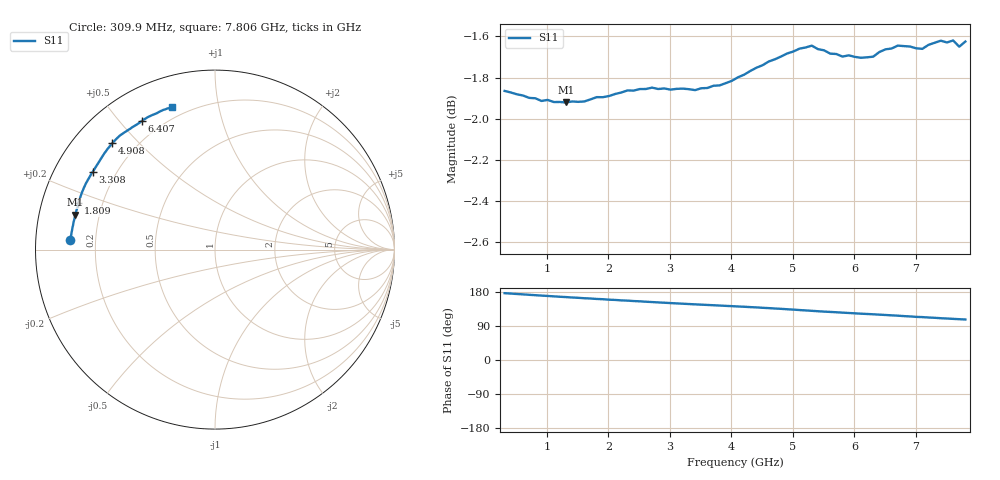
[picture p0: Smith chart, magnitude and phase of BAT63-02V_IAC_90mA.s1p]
! Infineon Technologies  Discrete & RF Semiconductors
! BAT63-02V
! IAC = 90 mA
! One-Port S-Parameters
# Hz  S  MA  R  50
!f  S11
!Hz  Mag  Ang
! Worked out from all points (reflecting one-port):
!   76 points, 309.9 MHz to 7.806 GHz, reference 50 ohm
!   lowest |S11| = -1.9 dB at 1.309 GHz (marker M1), VSWR 9.08, Z = 5.59 + j6.06 ohm
!   phase of S11 starts at 176 deg and turns -69 deg over the sweep
!   S11 on the Smith chart (normalised r, x): 309.9 MHz: 0.11, +0.03; 1.809 GHz: 0.11, +0.16; 3.308 GHz: 0.12, +0.29; 4.908 GHz: 0.11, +0.42; 6.407 GHz: 0.13, +0.57; 7.806 GHz: 0.14, +0.73
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3.0985e8  0.8068 176.3
7.0965e8  0.8036 172.0
1.30935e9  0.8016 166.0
1.8091e9  0.804 161.1
1.90905e9  0.804 160.4
2.009e9  0.8045 159.1
2.10895e9  0.8054 158.5
2.2089e9  0.8061 157.3
2.30885e9  0.807 156.7
2.50875e9  0.8076 154.8
2.8086e9  0.8076 152.0
3.2084e9  0.8078 148.5
3.30835e9  0.8076 147.7
4.10795e9  0.813 141.2
4.4078e9  0.8173 138.8
4.90755e9  0.8239 133.9
5.0075e9  0.8248 133.0
5.4073e9  0.8259 128.7
6.007e9  0.8223 123.2
6.4068e9  0.8245 119.7
6.70665e9  0.8275 117.0
6.90655e9  0.8271 115.0
7.0065e9  0.8262 113.8
7.10645e9  0.826 113.2
7.2064e9  0.8279 112.1
7.30635e9  0.8288 111.4
7.4063e9  0.8298 110.3
7.8061e9  0.8294 106.9
